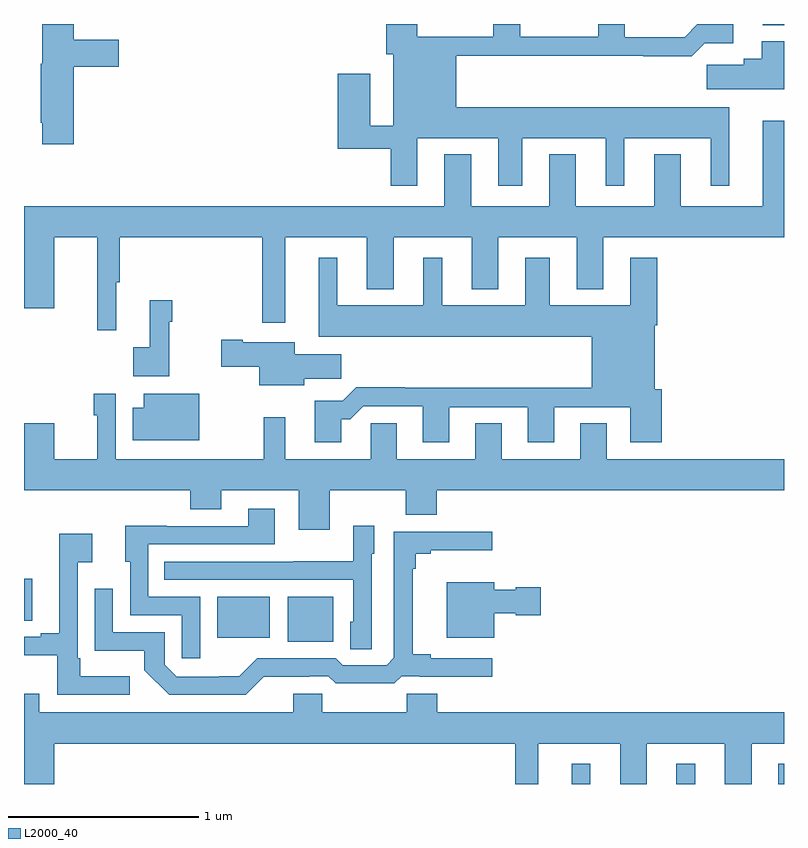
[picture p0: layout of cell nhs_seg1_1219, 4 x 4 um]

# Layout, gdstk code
import gdstk
lib = gdstk.Library(unit=1e-6, precision=1e-09)
def R(c, l, rs):  # rectangles x0, y0, x1, y1
    for r in rs: c.add(gdstk.rectangle(r[:2], r[2:], *l))
def P(c, l, *ps):  # polygons
    for p in ps: c.add(gdstk.Polygon(p, *l))
L2000_40 = (2000, 40)

nhs_seg1_1219 = lib.new_cell('nhs_seg1_1219')
R(nhs_seg1_1219, L2000_40, [(179.882,538.199,179.98,538.306), (180.434,538.199,180.532,538.306), (180.971,538.199,181,538.306), (178.388,538.949,178.627,539.185), (178.016,538.97,178.294,539.185), (177,539.059,177.043,539.278), (180.887,542.192,181,542.199)])
P(nhs_seg1_1219, L2000_40, [(177.263,541.973),(177.499,541.973),(177.499,542.115),(177.263,542.115),(177.263,542.199),(177.095,542.199),(177.095,541.989),(177.088,541.989),(177.088,541.678),(177.095,541.678),(177.095,541.566),(177.263,541.566)],
  [(179.071,541.598),(179.495,541.598),(179.495,541.347),(179.623,541.347),(179.623,541.598),(180.062,541.598),(180.062,541.347),(180.16,541.347),(180.16,541.598),(180.614,541.598),(180.614,541.347),(180.712,541.347),(180.712,541.762),(179.275,541.762),(179.275,542.032),(180.259,542.032),(180.259,542.03),(180.515,542.03),(180.584,542.099),(180.733,542.099),(180.733,542.199),(180.593,542.199),(180.593,542.197),(180.544,542.197),(180.477,542.13),(180.163,542.13),(180.163,542.199),(180.023,542.199),(180.023,542.133),(179.611,542.133),(179.611,542.199),(179.471,542.199),(179.471,542.133),(179.071,542.133),(179.071,542.199),(178.907,542.199),(178.907,542.04),(178.943,542.04),(178.943,541.663),(178.822,541.663),(178.822,541.936),(178.652,541.936),(178.652,541.542),(178.931,541.542),(178.931,541.347),(179.071,541.347)],
  [(181,542.107),(180.884,542.107),(180.884,542.017),(180.788,542.017),(180.788,541.985),(180.594,541.985),(180.594,541.856),(181,541.856)],
  [(177.485,540.84),(177.503,540.84),(177.503,541.076),(178.254,541.076),(178.254,540.627),(178.375,540.627),(178.375,541.076),(178.805,541.076),(178.805,540.803),(178.945,540.803),(178.945,541.076),(179.357,541.076),(179.357,540.803),(179.497,540.803),(179.497,541.076),(179.909,541.076),(179.909,540.803),(180.049,540.803),(180.049,541.076),(181,541.076),(181,541.69),(180.887,541.69),(180.887,541.24),(180.457,541.24),(180.457,541.513),(180.317,541.513),(180.317,541.24),(179.905,541.24),(179.905,541.513),(179.765,541.513),(179.765,541.24),(179.353,541.24),(179.353,541.513),(179.213,541.513),(179.213,541.24),(177,541.24),(177,540.702),(177.16,540.702),(177.16,541.076),(177.385,541.076),(177.385,540.588),(177.485,540.588)],
  [(178.669,540.119),(178.718,540.119),(178.785,540.186),(179.099,540.186),(179.099,539.997),(179.239,539.997),(179.239,540.183),(179.651,540.183),(179.651,539.997),(179.791,539.997),(179.791,540.183),(180.191,540.183),(180.191,539.997),(180.356,539.997),(180.356,540.276),(180.319,540.276),(180.319,540.614),(180.332,540.614),(180.332,540.97),(180.191,540.97),(180.191,540.718),(179.767,540.718),(179.767,540.97),(179.639,540.97),(179.639,540.718),(179.2,540.718),(179.2,540.97),(179.102,540.97),(179.102,540.718),(178.648,540.718),(178.648,540.97),(178.55,540.97),(178.55,540.554),(179.987,540.554),(179.987,540.284),(179.003,540.284),(179.003,540.287),(178.748,540.287),(178.678,540.217),(178.529,540.217),(178.529,539.997),(178.669,539.997)],
  [(177.764,540.632),(177.779,540.632),(177.779,540.745),(177.662,540.745),(177.662,540.497),(177.576,540.497),(177.576,540.344),(177.764,540.344)],
  [(178.474,540.331),(178.669,540.331),(178.669,540.46),(178.426,540.46),(178.426,540.523),(178.15,540.523),(178.15,540.536),(178.038,540.536),(178.038,540.394),(178.238,540.394),(178.238,540.299),(178.474,540.299)],
  [(178.261,540.13),(178.261,539.908),(177.483,539.908),(177.483,540.253),(177.367,540.253),(177.367,540.14),(177.385,540.14),(177.385,539.908),(177.16,539.908),(177.16,540.097),(177,540.097),(177,539.744),(177.875,539.744),(177.875,539.645),(178.039,539.645),(178.039,539.744),(178.445,539.744),(178.445,539.538),(178.609,539.538),(178.609,539.744),(179.009,539.744),(179.009,539.616),(179.173,539.616),(179.173,539.744),(181,539.744),(181,539.908),(180.067,539.908),(180.067,540.098),(179.927,540.098),(179.927,539.908),(179.515,539.908),(179.515,540.098),(179.375,540.098),(179.375,539.908),(178.963,539.908),(178.963,540.098),(178.824,540.098),(178.824,539.908),(178.375,539.908),(178.375,540.13)],
  [(177.922,540.253),(177.629,540.253),(177.629,540.178),(177.572,540.178),(177.572,540.008),(177.922,540.008)],
  [(177.927,539.184),(177.654,539.184),(177.654,539.46),(178.321,539.46),(178.321,539.647),(178.181,539.647),(178.181,539.556),(177.751,539.556),(177.751,539.558),(177.533,539.558),(177.533,539.37),(177.558,539.37),(177.558,539.088),(177.831,539.088),(177.831,538.86),(177.927,538.86)],
  [(178.83,539.412),(178.843,539.412),(178.843,539.557),(178.734,539.557),(178.734,539.371),(178.417,539.371),(178.417,539.37),(177.739,539.37),(177.739,539.274),(178.734,539.274),(178.734,539.052),(178.718,539.052),(178.718,538.909),(178.83,538.909)],
  [(178.262,538.763),(178.502,538.763),(178.502,538.767),(178.602,538.767),(178.642,538.728),(178.949,538.728),(178.989,538.767),(179.083,538.767),(179.083,538.763),(179.464,538.763),(179.464,538.86),(179.14,538.86),(179.14,538.883),(179.045,538.883),(179.045,539.333),(179.063,539.333),(179.063,539.41),(179.14,539.41),(179.14,539.429),(179.464,539.429),(179.464,539.526),(178.947,539.526),(178.947,538.863),(178.908,538.824),(178.677,538.824),(178.641,538.86),(178.227,538.86),(178.133,538.766),(178.028,538.766),(178.028,538.764),(177.804,538.764),(177.741,538.827),(177.741,538.998),(177.468,538.998),(177.468,539.227),(177.372,539.227),(177.372,538.901),(177.634,538.901),(177.634,538.799),(177.764,538.668),(178.167,538.668)],
  [(177.556,538.765),(177.295,538.765),(177.295,538.861),(177.282,538.861),(177.282,539.366),(177.358,539.366),(177.358,539.515),(177.185,539.515),(177.185,538.993),(177.089,538.993),(177.089,538.974),(177,538.974),(177,538.877),(177.174,538.877),(177.174,538.668),(177.556,538.668)],
  [(179.476,539.099),(179.589,539.099),(179.589,539.087),(179.719,539.087),(179.719,539.234),(179.589,539.234),(179.589,539.221),(179.476,539.221),(179.476,539.26),(179.225,539.26),(179.225,538.97),(179.476,538.97)],
  [(177.16,538.412),(179.586,538.412),(179.586,538.199),(179.707,538.199),(179.707,538.412),(180.137,538.412),(180.137,538.199),(180.277,538.199),(180.277,538.412),(180.689,538.412),(180.689,538.199),(180.829,538.199),(180.829,538.412),(181,538.412),(181,538.576),(179.174,538.576),(179.174,538.674),(179.014,538.674),(179.014,538.576),(178.569,538.576),(178.569,538.674),(178.418,538.674),(178.418,538.576),(177.079,538.576),(177.079,538.675),(177,538.675),(177,538.199),(177.16,538.199)])

lib.write_gds('nhs_seg1_1219.gds')
